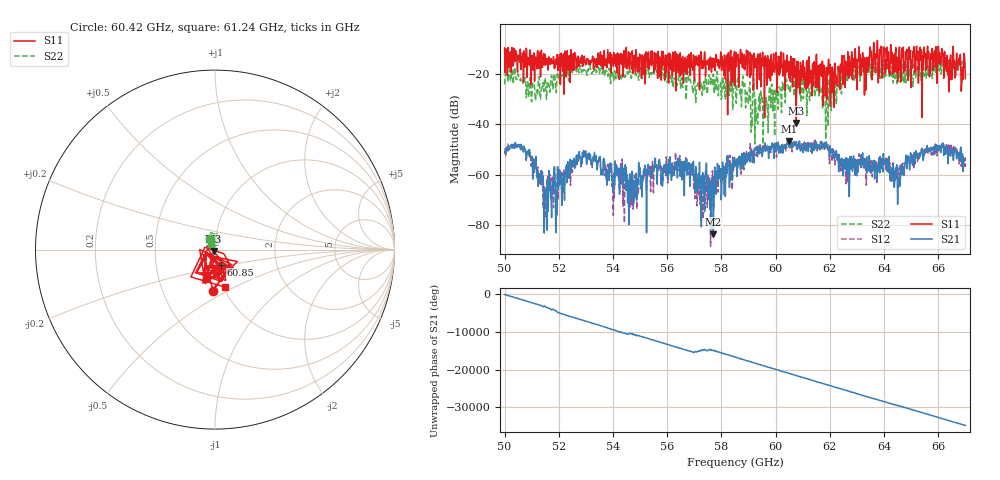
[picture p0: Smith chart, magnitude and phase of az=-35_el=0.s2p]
!Created with skrf (http://scikit-rf.org).
# GHz S RI R 50.0
!freq ReS11 ImS11 ReS21 ImS21 ReS12 ImS12 ReS22 ImS22
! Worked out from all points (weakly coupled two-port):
!   1001 points, 50 GHz to 67 GHz, reference 50 ohm
!   highest |S21| = -46.61 dB at 60.51 GHz (marker M1); lowest = -83.5 dB at 57.7 GHz (marker M2)
!   lowest |S11| = -39.5 dB at 60.76 GHz (marker M3), VSWR 1.02, Z = 49.2 - j0.728 ohm
!   |S11| at or under -10 dB: 50.8 GHz to 54.49 GHz (3.686 GHz wide, 7 % of centre); 54.49 GHz to 63.07 GHz (8.581 GHz wide, 14.6 % of centre); 66.01 GHz to 66.54 GHz (532.9 MHz wide, 0.804 % of centre) (the widest 3 of 28)
!   |S22| runs from -49.6 to -13.9 dB; largest |S21 - S12| = 0.0023
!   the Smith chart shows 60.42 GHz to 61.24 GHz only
!   S11 on the Smith chart (normalised r, x): 60.42 GHz: 0.88, -0.43; 60.85 GHz: 1.05, -0.18; 61.24 GHz: 1.02, -0.45
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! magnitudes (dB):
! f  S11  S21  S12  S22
! 50 GHz  -9.8  -51.3  -49.8  -24.3
! 50.92 GHz  -16.6  -49.9  -52.9  -23.1
! 51.53 GHz  -15.7  -69.2  -77.2  -28.2
! 52.84 GHz  -13.4  -53.1  -54.5  -19.5
! 54.66 GHz  -15.6  -60.5  -61.6  -21.3
! 55.68 GHz  -13.6  -55.8  -54.9  -21.8
! 56.72 GHz  -16.9  -53.8  -53.7  -25.4
! 57.28 GHz  -17.9  -60.3  -75.4  -27.5
! 57.7 GHz  -14.8  -83.5  -60.7  -20.1
! 58.5 GHz  -24.9  -55.7  -56.3  -24.1
! 59.32 GHz  -26.0  -48.8  -49.1  -35.6
! 60.42 GHz  -12.7  -47.9  -47.0  -23.7
! 60.51 GHz  -15.3  -46.6  -49.0  -25.1
! 60.76 GHz  -39.5  -46.9  -48.9  -28.6
! 60.85 GHz  -20.8  -48.6  -46.8  -21.3
! 61.24 GHz  -13.3  -48.2  -48.1  -28.9
! 61.34 GHz  -28.7  -51.5  -47.3  -25.1
! 62.6 GHz  -18.3  -53.2  -63.5  -19.0
! 64.18 GHz  -19.3  -52.7  -59.1  -18.2
! 64.57 GHz  -9.4  -63.5  -57.0  -17.5
! 66.1 GHz  -13.5  -51.1  -50.7  -20.1
! 67 GHz  -21.9  -54.0  -53.1  -15.7
